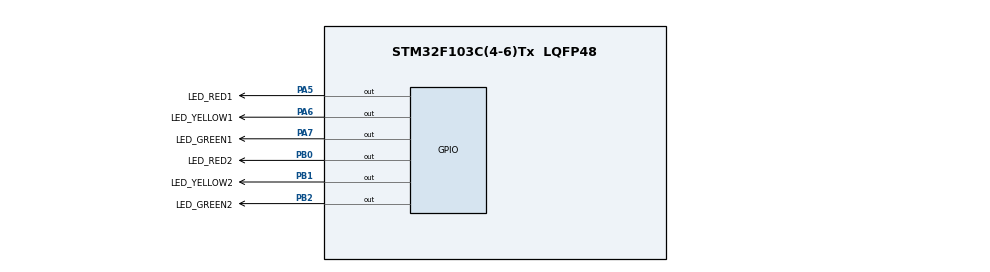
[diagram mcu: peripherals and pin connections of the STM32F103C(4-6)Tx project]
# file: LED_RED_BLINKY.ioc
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Mcu.Family=STM32F1
Mcu.Name=STM32F103C(4-6)Tx
Mcu.Package=LQFP48
NVIC.PriorityGroup=NVIC_PRIORITYGROUP_4
PA5.GPIO_Label=LED_RED1
PA5.Signal=GPIO_Output
PA6.GPIO_Label=LED_YELLOW1
PA6.Signal=GPIO_Output
PA7.GPIO_Label=LED_GREEN1
PA7.Signal=GPIO_Output
PB0.GPIO_Label=LED_RED2
PB0.Signal=GPIO_Output
PB1.GPIO_Label=LED_YELLOW2
PB1.Signal=GPIO_Output
PB2.GPIO_Label=LED_GREEN2
PB2.Signal=GPIO_Output
ProjectManager.HeapSize=0x200
ProjectManager.StackSize=0x400
ProjectManager.TargetToolchain=STM32CubeIDE
RCC.APB1Freq_Value=8000000
RCC.APB2Freq_Value=8000000
board=custom

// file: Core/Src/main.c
/* USER CODE BEGIN Header */
/**
  ******************************************************************************
  * @file           : main.c
  * @brief          : Main program body
  ******************************************************************************
  * @attention
  *
  * Copyright (c) 2025 STMicroelectronics.
  * All rights reserved.
  *
  * This software is licensed under terms that can be found in the LICENSE file
  * in the root directory of this software component.
  * If no LICENSE file comes with this software, it is provided AS-IS.
  *
  ******************************************************************************
  */
/* USER CODE END Header */
#include "main.h"

void SystemClock_Config(void);
static void MX_GPIO_Init(void);

int main(void)
{

  /* MCU Configuration--------------------------------------------------------*/

  /* Reset of all peripherals, Initializes the Flash interface and the Systick. */
  HAL_Init();

  /* Configure the system clock */
  SystemClock_Config();

  /* Initialize all configured peripherals */
  MX_GPIO_Init();

  /* Infinite loop */
  /* USER CODE BEGIN WHILE */
  int count = 0;
  while (1)
  {
    /* USER CODE END WHILE */

    /* USER CODE BEGIN 3 */
	if (count == 0)
	{
	  HAL_GPIO_WritePin(GPIOA, LED_RED1_Pin, RESET);
	  HAL_GPIO_WritePin(GPIOA, LED_YELLOW1_Pin, SET);
	  HAL_GPIO_WritePin(GPIOA, LED_GREEN1_Pin, SET);

	  HAL_GPIO_WritePin(GPIOB, LED_RED2_Pin, SET);
	  HAL_GPIO_WritePin(GPIOB, LED_YELLOW2_Pin, SET);
	  HAL_GPIO_WritePin(GPIOB, LED_GREEN2_Pin, RESET);
	}
	else if (count == 3)
	{

	  HAL_GPIO_WritePin(GPIOB, LED_RED2_Pin, SET);
	  HAL_GPIO_WritePin(GPIOB, LED_YELLOW2_Pin, RESET);
	  HAL_GPIO_WritePin(GPIOB, LED_GREEN2_Pin, SET);
	}
	else if (count == 5)
	{
	  HAL_GPIO_WritePin(GPIOA, LED_YELLOW1_Pin, SET);
	  HAL_GPIO_WritePin(GPIOA, LED_RED1_Pin, SET);
	  HAL_GPIO_WritePin(GPIOA, LED_GREEN1_Pin, RESET);

	  HAL_GPIO_WritePin(GPIOB, LED_YELLOW2_Pin, SET);
	  HAL_GPIO_WritePin(GPIOB, LED_RED2_Pin, RESET);
	  HAL_GPIO_WritePin(GPIOB, LED_GREEN2_Pin, SET);
	}
	else if (count == 8)
	{
	  HAL_GPIO_WritePin(GPIOA, LED_YELLOW1_Pin, RESET);
	  HAL_GPIO_WritePin(GPIOA, LED_RED1_Pin, SET);
	  HAL_GPIO_WritePin(GPIOA, LED_GREEN1_Pin, SET);
	}

	HAL_Delay(1000);
	  count++;
	if (count == 10)
	  count = 0;

  }
  /* USER CODE END 3 */
}

void SystemClock_Config(void)
{
  RCC_OscInitTypeDef RCC_OscInitStruct = {0};
  RCC_ClkInitTypeDef RCC_ClkInitStruct = {0};

  /** Initializes the RCC Oscillators according to the specified parameters
  * in the RCC_OscInitTypeDef structure.
  */
  RCC_OscInitStruct.OscillatorType = RCC_OSCILLATORTYPE_HSI;
  RCC_OscInitStruct.HSIState = RCC_HSI_ON;
  RCC_OscInitStruct.HSICalibrationValue = RCC_HSICALIBRATION_DEFAULT;
  RCC_OscInitStruct.PLL.PLLState = RCC_PLL_NONE;
  if (HAL_RCC_OscConfig(&RCC_OscInitStruct) != HAL_OK)
  {
    Error_Handler();
  }

  /** Initializes the CPU, AHB and APB buses clocks
  */
  RCC_ClkInitStruct.ClockType = RCC_CLOCKTYPE_HCLK|RCC_CLOCKTYPE_SYSCLK
                              |RCC_CLOCKTYPE_PCLK1|RCC_CLOCKTYPE_PCLK2;
  RCC_ClkInitStruct.SYSCLKSource = RCC_SYSCLKSOURCE_HSI;
  RCC_ClkInitStruct.AHBCLKDivider = RCC_SYSCLK_DIV1;
  RCC_ClkInitStruct.APB1CLKDivider = RCC_HCLK_DIV1;
  RCC_ClkInitStruct.APB2CLKDivider = RCC_HCLK_DIV1;

  if (HAL_RCC_ClockConfig(&RCC_ClkInitStruct, FLASH_LATENCY_0) != HAL_OK)
  {
    Error_Handler();
  }
}

static void MX_GPIO_Init(void)
{
  GPIO_InitTypeDef GPIO_InitStruct = {0};

  /* GPIO Ports Clock Enable */
  __HAL_RCC_GPIOA_CLK_ENABLE();
  __HAL_RCC_GPIOB_CLK_ENABLE();

  /*Configure GPIO pin Output Level */
  HAL_GPIO_WritePin(GPIOA, LED_RED1_Pin|LED_YELLOW1_Pin|LED_GREEN1_Pin, GPIO_PIN_RESET);

  /*Configure GPIO pin Output Level */
  HAL_GPIO_WritePin(GPIOB, LED_RED2_Pin|LED_YELLOW2_Pin|LED_GREEN2_Pin, GPIO_PIN_RESET);

  /*Configure GPIO pins : LED_RED1_Pin LED_YELLOW1_Pin LED_GREEN1_Pin */
  GPIO_InitStruct.Pin = LED_RED1_Pin|LED_YELLOW1_Pin|LED_GREEN1_Pin;
  GPIO_InitStruct.Mode = GPIO_MODE_OUTPUT_PP;
  GPIO_InitStruct.Pull = GPIO_NOPULL;
  GPIO_InitStruct.Speed = GPIO_SPEED_FREQ_LOW;
  HAL_GPIO_Init(GPIOA, &GPIO_InitStruct);

  /*Configure GPIO pins : LED_RED2_Pin LED_YELLOW2_Pin LED_GREEN2_Pin */
  GPIO_InitStruct.Pin = LED_RED2_Pin|LED_YELLOW2_Pin|LED_GREEN2_Pin;
  GPIO_InitStruct.Mode = GPIO_MODE_OUTPUT_PP;
  GPIO_InitStruct.Pull = GPIO_NOPULL;
  GPIO_InitStruct.Speed = GPIO_SPEED_FREQ_LOW;
  HAL_GPIO_Init(GPIOB, &GPIO_InitStruct);

}

void Error_Handler(void)
{
  __disable_irq();
  while (1)
  {
  }
}
